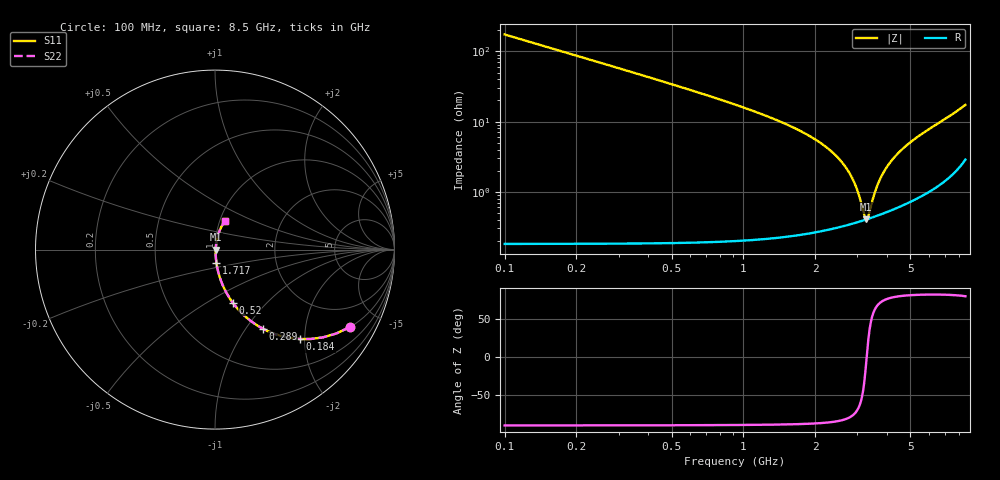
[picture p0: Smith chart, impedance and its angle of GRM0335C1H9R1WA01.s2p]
!Murata Part Number: GRM0335C1H9R1WA01
!These Parameters are Measured in Series Mode Connection
!Data Generated on Mar 30, 2021
!  o--ll--o
!Port1  Port2
!  o------o
!Operation Temp=25[degC], DC Bias Voltage=0[V]
!Freq. Start=100[MHz] Stop=9[GHz] 401[Steps]
# Hz S RI R 50
!Freq.(Hz) S11(Real) S11(Imag) S21(Real) S21(Imag) S12(Real) S12(Imag) S22(Real) S22(Imag)
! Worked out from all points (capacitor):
!   401 points, 100 MHz to 8.5 GHz, reference 50 ohm
!   read as one part in series: C = 9.1 pF near 142 MHz
!   lowest |Z| = 404 mohm at 3.271 GHz (marker M1)
!   series resonance near 3.281 GHz, so ESL is about 260 pH
!   S11 on the Smith chart (normalised r, x): 100 MHz: 1.00, -3.49; 184 MHz: 1.00, -1.90; 289 MHz: 1.00, -1.20; 520 MHz: 1.00, -0.66; 1.717 GHz: 1.00, -0.15; 8.5 GHz: 1.06, +0.34
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1e8  0.7531 -0.4307  0.2469 0.4307  0.2469 0.4307  0.7531 -0.4307
1.84e8  0.4732 -0.4983  0.5268 0.4983  0.5268 0.4983  0.4732 -0.4983
2.89e8  0.2657 -0.4402  0.7343 0.4402  0.7343 0.4402  0.2657 -0.4402
3.94e8  0.1618 -0.3662  0.8382 0.3662  0.8382 0.3662  0.1618 -0.3662
5.2e8  0.0985 -0.2952  0.9015 0.2952  0.9015 0.2952  0.0985 -0.2952
8.98e8  0.0334 -0.1742  0.9666 0.1742  0.9666 0.1742  0.0334 -0.1742
1.507e9  0.0106 -0.0909  0.9894 0.0909  0.9894 0.0909  0.0106 -0.0909
1.717e9  0.00789 -0.0738  0.9921 0.0738  0.9921 0.0738  0.00789 -0.0738
2.473e9  0.00402 -0.0308  0.996 0.0308  0.996 0.0308  0.00402 -0.0308
2.725e9  0.00374 -0.0202  0.9963 0.0202  0.9963 0.0202  0.00374 -0.0202
2.914e9  0.00372 -0.0129  0.9963 0.0129  0.9963 0.0129  0.00372 -0.0129
3.208e9  0.00393 -0.00246  0.9961 0.00246  0.9961 0.00246  0.00393 -0.00246
3.271e9  0.00401 -0.000339  0.996 0.000339  0.996 0.000339  0.00401 -0.000339
3.334e9  0.0041 0.00174  0.9959 -0.00174  0.9959 -0.00174  0.0041 0.00174
3.544e9  0.00447 0.00845  0.9955 -0.00845  0.9955 -0.00845  0.00447 0.00845
3.733e9  0.00489 0.0142  0.9951 -0.0142  0.9951 -0.0142  0.00489 0.0142
3.985e9  0.00557 0.0216  0.9944 -0.0216  0.9944 -0.0216  0.00557 0.0216
4.3e9  0.00659 0.0305  0.9934 -0.0305  0.9934 -0.0305  0.00659 0.0305
4.888e9  0.00903 0.0464  0.991 -0.0464  0.991 -0.0464  0.00903 0.0464
5.707e9  0.0137 0.0681  0.9863 -0.0681  0.9863 -0.0681  0.0137 0.0681
7.114e9  0.0267 0.1079  0.9733 -0.1079  0.9733 -0.1079  0.0267 0.1079
8.5e9  0.0541 0.1575  0.9459 -0.1575  0.9459 -0.1575  0.0541 0.1575
